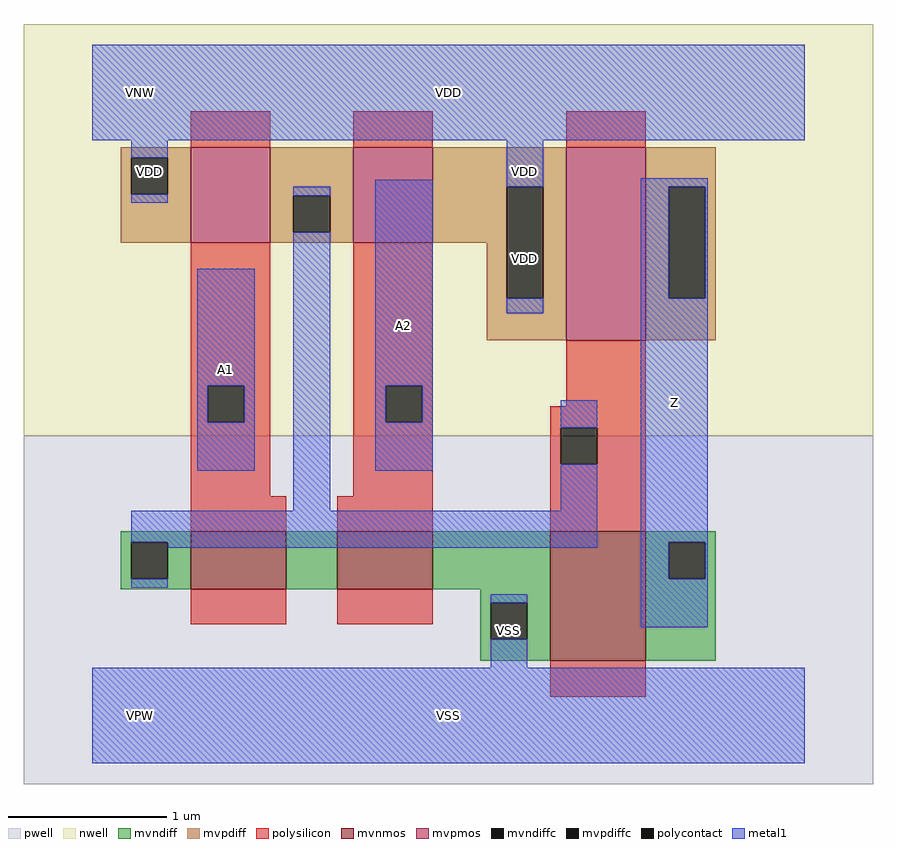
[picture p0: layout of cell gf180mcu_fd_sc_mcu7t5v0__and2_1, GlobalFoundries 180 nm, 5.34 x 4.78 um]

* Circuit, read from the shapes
.subckt gf180mcu_fd_sc_mcu7t5v0__and2_1 A1 A2 Z VDD VNW VPW VSS
XM1 n1 A1 n2 VPW nfet_06v0 w=0.365u l=0.6u
XM2 VSS A2 n1 VPW nfet_06v0 w=0.365u l=0.6u
XM3 Z n2 VSS VPW nfet_06v0 w=0.815u l=0.6u
XM4 n2 A1 VDD VNW pfet_06v0 w=0.6u l=0.5u
XM5 VDD A2 n2 VNW pfet_06v0 w=0.6u l=0.5u
XM6 Z n2 VDD VNW pfet_06v0 w=1.215u l=0.5u
.ends

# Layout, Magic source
magic
tech gf180mcuD
magscale 1 10
<< nwell >>
rect -86 352 982 870
<< pwell >>
rect -86 -86 982 352
<< mvnmos >>
rect 124 159 244 232
rect 308 159 428 232
rect 576 69 696 232
<< mvpmos >>
rect 124 595 224 715
rect 328 595 428 715
rect 596 472 696 715
<< mvndiff >>
rect 36 218 124 232
rect 36 172 49 218
rect 95 172 124 218
rect 36 159 124 172
rect 244 159 308 232
rect 428 159 576 232
rect 488 142 576 159
rect 488 96 501 142
rect 547 96 576 142
rect 488 69 576 96
rect 696 218 784 232
rect 696 172 725 218
rect 771 172 784 218
rect 696 69 784 172
<< mvpdiff >>
rect 36 702 124 715
rect 36 656 49 702
rect 95 656 124 702
rect 36 595 124 656
rect 224 654 328 715
rect 224 608 253 654
rect 299 608 328 654
rect 224 595 328 608
rect 428 665 596 715
rect 428 595 521 665
rect 496 525 521 595
rect 567 525 596 665
rect 496 472 596 525
rect 696 665 784 715
rect 696 525 725 665
rect 771 525 784 665
rect 696 472 784 525
<< mvndiffc >>
rect 49 172 95 218
rect 501 96 547 142
rect 725 172 771 218
<< mvpdiffc >>
rect 49 656 95 702
rect 253 608 299 654
rect 521 525 567 665
rect 725 525 771 665
<< polysilicon >>
rect 124 715 224 760
rect 328 715 428 760
rect 596 715 696 760
rect 124 415 224 595
rect 124 369 145 415
rect 191 369 224 415
rect 124 276 224 369
rect 328 415 428 595
rect 328 369 369 415
rect 415 369 428 415
rect 596 389 696 472
rect 328 276 428 369
rect 124 232 244 276
rect 308 232 428 276
rect 576 362 696 389
rect 576 316 589 362
rect 635 316 696 362
rect 576 232 696 316
rect 124 115 244 159
rect 308 115 428 159
rect 576 24 696 69
<< polycontact >>
rect 145 369 191 415
rect 369 369 415 415
rect 589 316 635 362
<< metal1 >>
rect 0 724 896 844
rect 49 702 95 724
rect 49 645 95 656
rect 253 654 299 665
rect 132 415 204 562
rect 132 369 145 415
rect 191 369 204 415
rect 132 308 204 369
rect 253 258 299 608
rect 356 415 428 674
rect 521 665 567 724
rect 521 506 567 525
rect 690 665 774 676
rect 690 525 725 665
rect 771 525 774 665
rect 356 369 369 415
rect 415 369 428 415
rect 356 308 428 369
rect 589 362 635 397
rect 589 258 635 316
rect 49 218 635 258
rect 95 211 635 218
rect 690 218 774 525
rect 49 161 95 172
rect 690 172 725 218
rect 771 172 774 218
rect 501 142 547 153
rect 690 111 774 172
rect 501 60 547 96
rect 0 -60 896 60
<< labels >>
flabel metal1 s 0 724 896 844 0 FreeSans 400 0 0 0 VDD
port 4 nsew power bidirectional abutment
flabel metal1 s 501 60 547 153 0 FreeSans 400 0 0 0 VSS
port 7 nsew ground bidirectional abutment
flabel metal1 s 690 111 774 676 0 FreeSans 400 0 0 0 Z
port 3 nsew default output
flabel metal1 s 132 308 204 562 0 FreeSans 400 0 0 0 A1
port 1 nsew default input
flabel metal1 s 356 308 428 674 0 FreeSans 400 0 0 0 A2
port 2 nsew default input
flabel nwell s 10 734 110 834 0 FreeSans 400 0 0 0 VNW
port 5 nsew power bidirectional
flabel pwell s 10 -50 110 50 0 FreeSans 400 0 0 0 VPW
port 6 nsew ground bidirectional
rlabel metal1 s 521 645 567 724 1 VDD
port 4 nsew power bidirectional abutment
rlabel metal1 s 49 645 95 724 1 VDD
port 4 nsew power bidirectional abutment
rlabel metal1 s 521 506 567 645 1 VDD
port 4 nsew power bidirectional abutment
rlabel metal1 s 0 -60 896 60 1 VSS
port 7 nsew ground bidirectional abutment
<< properties >>
string FIXED_BBOX 0 0 896 784
string GDS_END 1211902
string GDS_FILE $PDKPATH/libs.ref/gf180mcu_fd_sc_mcu7t5v0/gds/gf180mcu_fd_sc_mcu7t5v0.gds
string GDS_START 1208972
string LEFclass core
string LEFsite GF018hv5v_mcu_sc7
string LEFsymmetry X Y
<< end >>
